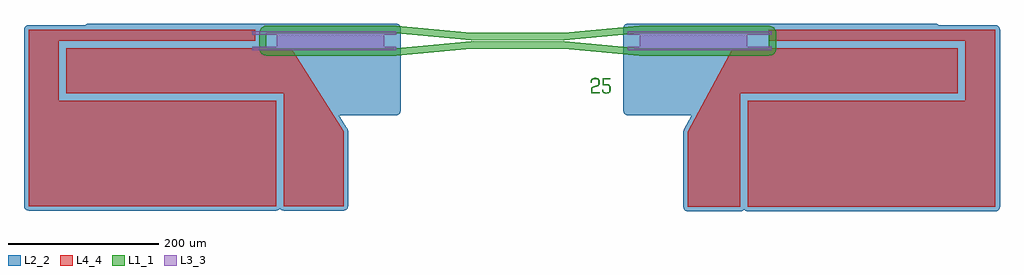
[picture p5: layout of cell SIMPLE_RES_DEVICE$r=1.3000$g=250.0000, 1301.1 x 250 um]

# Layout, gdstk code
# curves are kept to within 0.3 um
import gdstk
lib = gdstk.Library(unit=1e-6, precision=1e-10)
def P(c, l, *ps):  # polygons
    for p in ps: c.add(gdstk.Polygon(p, *l))
L1_1 = (1, 1)
L2_2 = (2, 2)
L3_3 = (3, 3)
L4_4 = (4, 4)

simple_res_device_r_1_30 = lib.new_cell('SIMPLE_RES_DEVICE$r=1.3000$g=250.0000')
P(simple_res_device_r_1_30, L1_1, [(-580.848,-15.25),(-583.7508,-14.8194),(-587.1919,-12.9801),(-589.1627,-10.8057),(-590.6559,-7.2009),(-590.6559,16.7009),(-587.9191,21.8211),(-582.7989,24.5579),(-408.048,24.75),(-307.579,15.35),(-245.9,15.35),(-245.9,5.35),(-308.048,5.35),(-408.048,14.75),(-580.848,14.75),(-580.848,-5.25),(-408.048,-5.25),(-308.048,4.15),(-245.9,4.15),(-245.9,-5.85),(-307.579,-5.85),(-408.048,-15.25)],
  [(-83.752,-15.25),(-184.221,-5.85),(-245.9,-5.85),(-245.9,4.15),(-183.752,4.15),(-83.752,-5.25),(89.048,-5.25),(89.048,14.75),(-83.752,14.75),(-183.752,5.35),(-245.9,5.35),(-245.9,15.35),(-184.221,15.35),(-83.752,24.75),(90.0282,24.7018),(95.3919,22.4801),(98.6174,17.6528),(98.9998,-6.2302),(97.8672,-9.964),(95.3919,-12.9801),(92.8748,-14.4888),(89.048,-15.25)],
  [(-127.654,-65.578),(-130.096,-65.342),(-131.148,-64.996),(-132.152,-64.36),(-132.896,-63.406),(-133.172,-62.396),(-133.188,-60.394),(-131.702,-60.394),(-131.702,-62.012),(-131.282,-63.064),(-130.382,-63.718),(-128.066,-64.218),(-125.694,-63.98),(-124.658,-63.544),(-123.868,-62.792),(-123.606,-61.848),(-123.606,-56.692),(-124.01,-55.71),(-124.966,-55.016),(-125.938,-54.65),(-126.998,-54.468),(-132.8,-54.468),(-132.8,-45.108),(-122.658,-45.108),(-122.658,-46.468),(-131.314,-46.468),(-131.314,-53.146),(-126.904,-53.146),(-124.618,-53.492),(-122.896,-54.656),(-122.278,-55.704),(-122.12,-61.848),(-122.262,-62.914),(-122.792,-63.956),(-123.598,-64.682),(-124.848,-65.228)],
  [(-148.154,-65.22),(-148.154,-59.036),(-147.846,-57.866),(-147.008,-57.006),(-145.862,-56.394),(-140.242,-54.772),(-139.198,-54.242),(-138.408,-53.49),(-138.526,-47.892),(-139.166,-47.01),(-141.316,-46.282),(-144.93,-46.486),(-145.886,-46.91),(-146.636,-47.77),(-146.866,-48.87),(-146.866,-50.986),(-148.4,-50.986),(-148.328,-47.906),(-147.894,-46.732),(-147.112,-45.88),(-144.874,-44.98),(-141.096,-44.84),(-138.748,-45.446),(-137.87,-46.032),(-137.166,-46.948),(-136.788,-48.106),(-136.788,-52.914),(-136.97,-53.994),(-137.594,-54.912),(-138.478,-55.554),(-140.566,-56.402),(-144.274,-57.386),(-145.396,-57.89),(-146.274,-58.61),(-146.534,-59.386),(-146.534,-63.87),(-136.708,-63.87),(-136.708,-65.22)])
P(simple_res_device_r_1_30, L2_2, [(-18.952,-222.5),(-21.2481,-222.0433),(-22.7584,-221.1381),(-24.2435,-219.3284),(-24.9231,-217.0881),(-24.952,-116.5),(-24.2302,-113.6469),(-13.8806,-94.5),(-98.952,-94.5),(-101.7804,-93.7915),(-103.9408,-91.8334),(-104.952,-88.5),(-104.952,21.5),(-104.2435,24.3284),(-101.7804,26.7915),(-98.952,27.5),(311.048,27.5),(313.3441,27.0433),(315.5106,25.5),(391.6361,25.4711),(394.3814,24.4888),(396.3395,22.3284),(397.048,19.5),(397.048,-216.5),(396.3395,-219.3284),(393.8764,-221.7915),(391.048,-222.5),(61.048,-222.5),(58.2196,-221.7915),(56.048,-219.8148),(53.8764,-221.7915),(51.048,-222.5)],
  [(-898.048,-221.5),(-900.3441,-221.0433),(-902.2906,-219.7426),(-903.5913,-217.7961),(-904.048,-215.5),(-904.048,19.5),(-903.3395,22.3284),(-900.8764,24.7915),(-898.048,25.5),(-822.5106,25.5),(-820.3441,27.0433),(-818.048,27.5),(-408.048,27.5),(-405.2196,26.7915),(-402.7565,24.3284),(-402.048,21.5),(-402.048,-88.5),(-403.0592,-91.8334),(-405.2196,-93.7915),(-408.048,-94.5),(-484.2998,-94.5),(-472.986,-112.2787),(-472.0747,-114.9341),(-472.048,-215.5),(-472.7565,-218.3284),(-475.2196,-220.7915),(-478.048,-221.5),(-558.048,-221.5),(-560.8764,-220.7915),(-563.048,-218.8148),(-565.2196,-220.7915),(-568.048,-221.5)])
P(simple_res_device_r_1_30, L3_3, [(-98.952,-8),(-98.952,-3),(-83.197,-3),(-83.197,11.75),(-82.752,11.75),(-82.752,-3),(-82.752,-3),(-81.397,-3),(-81.397,11.75),(-80.952,11.75),(-80.952,-3),(-79.597,-3),(-79.597,11.75),(-79.152,11.75),(-79.152,-3),(-77.797,-3),(-77.797,11.75),(-77.352,11.75),(-77.352,-3),(-75.997,-3),(-75.997,11.75),(-75.552,11.75),(-75.552,-3),(-74.197,-3),(-74.197,11.75),(-73.752,11.75),(-73.752,-3),(-72.397,-3),(-72.397,11.75),(-71.952,11.75),(-71.952,-3),(-70.597,-3),(-70.597,11.75),(-70.152,11.75),(-70.152,-3),(-68.797,-3),(-68.797,11.75),(-68.352,11.75),(-68.352,-3),(-66.997,-3),(-66.997,11.75),(-66.552,11.75),(-66.552,-3),(-65.197,-3),(-65.197,11.75),(-64.752,11.75),(-64.752,-3),(-63.397,-3),(-63.397,11.75),(-62.952,11.75),(-62.952,-3),(-61.597,-3),(-61.597,11.75),(-61.152,11.75),(-61.152,-3),(-59.797,-3),(-59.797,11.75),(-59.352,11.75),(-59.352,-3),(-57.997,-3),(-57.997,11.75),(-57.552,11.75),(-57.552,-3),(-56.197,-3),(-56.197,11.75),(-55.752,11.75),(-55.752,-3),(-54.397,-3),(-54.397,11.75),(-53.952,11.75),(-53.952,-3),(-52.597,-3),(-52.597,11.75),(-52.152,11.75),(-52.152,-3),(-50.797,-3),(-50.797,11.75),(-50.352,11.75),(-50.352,-3),(-48.997,-3),(-48.997,11.75),(-48.552,11.75),(-48.552,-3),(-47.197,-3),(-47.197,11.75),(-46.752,11.75),(-46.752,-3),(-45.397,-3),(-45.397,11.75),(-44.952,11.75),(-44.952,-3),(-43.597,-3),(-43.597,11.75),(-43.152,11.75),(-43.152,-3),(-41.797,-3),(-41.797,11.75),(-41.352,11.75),(-41.352,-3),(-39.997,-3),(-39.997,11.75),(-39.552,11.75),(-39.552,-3),(-38.197,-3),(-38.197,11.75),(-37.752,11.75),(-37.752,-3),(-36.397,-3),(-36.397,11.75),(-35.952,11.75),(-35.952,-3),(-34.597,-3),(-34.597,11.75),(-34.152,11.75),(-34.152,-3),(-32.797,-3),(-32.797,11.75),(-32.352,11.75),(-32.352,-3),(-30.997,-3),(-30.997,11.75),(-30.552,11.75),(-30.552,-3),(-29.197,-3),(-29.197,11.75),(-28.752,11.75),(-28.752,-3),(-27.397,-3),(-27.397,11.75),(-26.952,11.75),(-26.952,-3),(-25.597,-3),(-25.597,11.75),(-25.152,11.75),(-25.152,-3),(-23.797,-3),(-23.797,11.75),(-23.352,11.75),(-23.352,-3),(-21.997,-3),(-21.997,11.75),(-21.552,11.75),(-21.552,-3),(-20.197,-3),(-20.197,11.75),(-19.752,11.75),(-19.752,-3),(-18.397,-3),(-18.397,11.75),(-17.952,11.75),(-17.952,-3),(-16.597,-3),(-16.597,11.75),(-16.152,11.75),(-16.152,-3),(-14.797,-3),(-14.797,11.75),(-14.352,11.75),(-14.352,-3),(-12.997,-3),(-12.997,11.75),(-12.552,11.75),(-12.552,-3),(-11.197,-3),(-11.197,11.75),(-10.752,11.75),(-10.752,-3),(-9.397,-3),(-9.397,11.75),(-8.952,11.75),(-8.952,-3),(-7.597,-3),(-7.597,11.75),(-7.152,11.75),(-7.152,-3),(-5.797,-3),(-5.797,11.75),(-5.352,11.75),(-5.352,-3),(-3.997,-3),(-3.997,11.75),(-3.552,11.75),(-3.552,-3),(-2.197,-3),(-2.197,11.75),(-1.752,11.75),(-1.752,-3),(-0.397,-3),(-0.397,11.75),(0.048,11.75),(0.048,-3),(1.403,-3),(1.403,11.75),(1.848,11.75),(1.848,-3),(3.203,-3),(3.203,11.75),(3.648,11.75),(3.648,-3),(5.003,-3),(5.003,11.75),(5.448,11.75),(5.448,-3),(6.803,-3),(6.803,11.75),(7.248,11.75),(7.248,-3),(8.603,-3),(8.603,11.75),(9.048,11.75),(9.048,-3),(10.403,-3),(10.403,11.75),(10.848,11.75),(10.848,-3),(12.203,-3),(12.203,11.75),(12.648,11.75),(12.648,-3),(14.003,-3),(14.003,11.75),(14.448,11.75),(14.448,-3),(15.803,-3),(15.803,11.75),(16.248,11.75),(16.248,-3),(17.603,-3),(17.603,11.75),(18.048,11.75),(18.048,-3),(19.403,-3),(19.403,11.75),(19.848,11.75),(19.848,-3),(21.203,-3),(21.203,11.75),(21.648,11.75),(21.648,-3),(23.003,-3),(23.003,11.75),(23.448,11.75),(23.448,-3),(24.803,-3),(24.803,11.75),(25.248,11.75),(25.248,-3),(26.603,-3),(26.603,11.75),(27.048,11.75),(27.048,-3),(28.403,-3),(28.403,11.75),(28.848,11.75),(28.848,-3),(30.203,-3),(30.203,11.75),(30.648,11.75),(30.648,-3),(32.003,-3),(32.003,11.75),(32.448,11.75),(32.448,-3),(33.803,-3),(33.803,11.75),(34.248,11.75),(34.248,-3),(35.603,-3),(35.603,11.75),(36.048,11.75),(36.048,-3),(37.403,-3),(37.403,11.75),(37.848,11.75),(37.848,-3),(39.203,-3),(39.203,11.75),(39.648,11.75),(39.648,-3),(41.003,-3),(41.003,11.75),(41.448,11.75),(41.448,-3),(42.803,-3),(42.803,11.75),(43.248,11.75),(43.248,-3),(44.603,-3),(44.603,11.75),(45.048,11.75),(45.048,-3),(46.403,-3),(46.403,11.75),(46.848,11.75),(46.848,-3),(48.203,-3),(48.203,11.75),(48.648,11.75),(48.648,-3),(50.003,-3),(50.003,11.75),(50.448,11.75),(50.448,-3),(51.803,-3),(51.803,11.75),(52.248,11.75),(52.248,-3),(53.603,-3),(53.603,11.75),(54.048,11.75),(54.048,-3),(55.403,-3),(55.403,11.75),(55.848,11.75),(55.848,-3),(57.203,-3),(57.203,11.75),(57.648,11.75),(57.648,-3),(59.003,-3),(59.003,11.75),(59.448,11.75),(59.448,-3),(93.048,-3),(93.048,-8)],
  [(-82.297,-2.25),(-82.297,12.5),(-98.952,12.5),(-98.952,17.5),(93.048,17.5),(93.048,12.5),(60.348,12.5),(60.348,-2.25),(59.903,-2.25),(59.903,12.5),(58.548,12.5),(58.548,-2.25),(58.103,-2.25),(58.103,12.5),(56.748,12.5),(56.748,-2.25),(56.303,-2.25),(56.303,12.5),(54.948,12.5),(54.948,-2.25),(54.503,-2.25),(54.503,12.5),(53.148,12.5),(53.148,-2.25),(52.703,-2.25),(52.703,12.5),(51.348,12.5),(51.348,-2.25),(50.903,-2.25),(50.903,12.5),(49.548,12.5),(49.548,-2.25),(49.103,-2.25),(49.103,12.5),(47.748,12.5),(47.748,-2.25),(47.303,-2.25),(47.303,12.5),(45.948,12.5),(45.948,-2.25),(45.503,-2.25),(45.503,12.5),(44.148,12.5),(44.148,-2.25),(43.703,-2.25),(43.703,12.5),(42.348,12.5),(42.348,-2.25),(41.903,-2.25),(41.903,12.5),(40.548,12.5),(40.548,-2.25),(40.103,-2.25),(40.103,12.5),(38.748,12.5),(38.748,-2.25),(38.303,-2.25),(38.303,12.5),(36.948,12.5),(36.948,-2.25),(36.503,-2.25),(36.503,12.5),(35.148,12.5),(35.148,-2.25),(34.703,-2.25),(34.703,12.5),(33.348,12.5),(33.348,-2.25),(32.903,-2.25),(32.903,12.5),(31.548,12.5),(31.548,-2.25),(31.103,-2.25),(31.103,12.5),(29.748,12.5),(29.748,-2.25),(29.303,-2.25),(29.303,12.5),(27.948,12.5),(27.948,-2.25),(27.503,-2.25),(27.503,12.5),(26.148,12.5),(26.148,-2.25),(25.703,-2.25),(25.703,12.5),(24.348,12.5),(24.348,-2.25),(23.903,-2.25),(23.903,12.5),(22.548,12.5),(22.548,-2.25),(22.103,-2.25),(22.103,12.5),(20.748,12.5),(20.748,-2.25),(20.303,-2.25),(20.303,12.5),(18.948,12.5),(18.948,-2.25),(18.503,-2.25),(18.503,12.5),(17.148,12.5),(17.148,-2.25),(16.703,-2.25),(16.703,12.5),(15.348,12.5),(15.348,-2.25),(14.903,-2.25),(14.903,12.5),(13.548,12.5),(13.548,-2.25),(13.103,-2.25),(13.103,12.5),(11.748,12.5),(11.748,-2.25),(11.303,-2.25),(11.303,12.5),(9.948,12.5),(9.948,-2.25),(9.503,-2.25),(9.503,12.5),(8.148,12.5),(8.148,-2.25),(7.703,-2.25),(7.703,12.5),(6.348,12.5),(6.348,-2.25),(5.903,-2.25),(5.903,12.5),(4.548,12.5),(4.548,-2.25),(4.103,-2.25),(4.103,12.5),(2.748,12.5),(2.748,-2.25),(2.303,-2.25),(2.303,12.5),(0.948,12.5),(0.948,-2.25),(0.503,-2.25),(0.503,12.5),(-0.852,12.5),(-0.852,-2.25),(-1.297,-2.25),(-1.297,12.5),(-2.652,12.5),(-2.652,-2.25),(-3.097,-2.25),(-3.097,12.5),(-4.452,12.5),(-4.452,-2.25),(-4.897,-2.25),(-4.897,12.5),(-6.252,12.5),(-6.252,-2.25),(-6.697,-2.25),(-6.697,12.5),(-8.052,12.5),(-8.052,-2.25),(-8.497,-2.25),(-8.497,12.5),(-9.852,12.5),(-9.852,-2.25),(-10.297,-2.25),(-10.297,12.5),(-11.652,12.5),(-11.652,-2.25),(-12.097,-2.25),(-12.097,12.5),(-13.452,12.5),(-13.452,-2.25),(-13.897,-2.25),(-13.897,12.5),(-15.252,12.5),(-15.252,-2.25),(-15.697,-2.25),(-15.697,12.5),(-17.052,12.5),(-17.052,-2.25),(-17.497,-2.25),(-17.497,12.5),(-18.852,12.5),(-18.852,-2.25),(-19.297,-2.25),(-19.297,12.5),(-20.652,12.5),(-20.652,-2.25),(-21.097,-2.25),(-21.097,12.5),(-22.452,12.5),(-22.452,-2.25),(-22.897,-2.25),(-22.897,12.5),(-24.252,12.5),(-24.252,-2.25),(-24.697,-2.25),(-24.697,12.5),(-26.052,12.5),(-26.052,-2.25),(-26.497,-2.25),(-26.497,12.5),(-27.852,12.5),(-27.852,-2.25),(-28.297,-2.25),(-28.297,12.5),(-29.652,12.5),(-29.652,-2.25),(-30.097,-2.25),(-30.097,12.5),(-31.452,12.5),(-31.452,-2.25),(-31.897,-2.25),(-31.897,12.5),(-33.252,12.5),(-33.252,-2.25),(-33.697,-2.25),(-33.697,12.5),(-35.052,12.5),(-35.052,-2.25),(-35.497,-2.25),(-35.497,12.5),(-36.852,12.5),(-36.852,-2.25),(-37.297,-2.25),(-37.297,12.5),(-38.652,12.5),(-38.652,-2.25),(-39.097,-2.25),(-39.097,12.5),(-40.452,12.5),(-40.452,-2.25),(-40.897,-2.25),(-40.897,12.5),(-42.252,12.5),(-42.252,-2.25),(-42.697,-2.25),(-42.697,12.5),(-44.052,12.5),(-44.052,-2.25),(-44.497,-2.25),(-44.497,12.5),(-45.852,12.5),(-45.852,-2.25),(-46.297,-2.25),(-46.297,12.5),(-47.652,12.5),(-47.652,-2.25),(-48.097,-2.25),(-48.097,12.5),(-49.452,12.5),(-49.452,-2.25),(-49.897,-2.25),(-49.897,12.5),(-51.252,12.5),(-51.252,-2.25),(-51.697,-2.25),(-51.697,12.5),(-53.052,12.5),(-53.052,-2.25),(-53.497,-2.25),(-53.497,12.5),(-54.852,12.5),(-54.852,-2.25),(-55.297,-2.25),(-55.297,12.5),(-56.652,12.5),(-56.652,-2.25),(-57.097,-2.25),(-57.097,12.5),(-58.452,12.5),(-58.452,-2.25),(-58.897,-2.25),(-58.897,12.5),(-60.252,12.5),(-60.252,-2.25),(-60.697,-2.25),(-60.697,12.5),(-62.052,12.5),(-62.052,-2.25),(-62.497,-2.25),(-62.497,12.5),(-63.852,12.5),(-63.852,-2.25),(-64.297,-2.25),(-64.297,12.5),(-65.652,12.5),(-65.652,-2.25),(-66.097,-2.25),(-66.097,12.5),(-67.452,12.5),(-67.452,-2.25),(-67.897,-2.25),(-67.897,-2.25),(-67.897,12.5),(-69.252,12.5),(-69.252,-2.25),(-69.697,-2.25),(-69.697,12.5),(-71.052,12.5),(-71.052,-2.25),(-71.497,-2.25),(-71.497,12.5),(-72.852,12.5),(-72.852,-2.25),(-73.297,-2.25),(-73.297,12.5),(-74.652,12.5),(-74.652,-2.25),(-75.097,-2.25),(-75.097,12.5),(-76.452,12.5),(-76.452,-2.25),(-76.897,-2.25),(-76.897,12.5),(-78.252,12.5),(-78.252,-2.25),(-78.697,-2.25),(-78.697,12.5),(-80.052,12.5),(-80.052,-2.25),(-80.497,-2.25),(-80.497,12.5),(-81.852,12.5),(-81.852,-2.25)],
  [(-600.048,-8),(-600.048,-3),(-566.448,-3),(-566.448,11.75),(-566.003,11.75),(-566.003,-3),(-564.648,-3),(-564.648,11.75),(-564.203,11.75),(-564.203,-3),(-562.848,-3),(-562.848,11.75),(-562.403,11.75),(-562.403,-3),(-561.048,-3),(-561.048,11.75),(-560.603,11.75),(-560.603,-3),(-559.248,-3),(-559.248,11.75),(-558.803,11.75),(-558.803,-3),(-557.448,-3),(-557.448,11.75),(-557.003,11.75),(-557.003,-3),(-555.648,-3),(-555.648,11.75),(-555.203,11.75),(-555.203,-3),(-553.848,-3),(-553.848,11.75),(-553.403,11.75),(-553.403,-3),(-552.048,-3),(-552.048,11.75),(-551.603,11.75),(-551.603,-3),(-550.248,-3),(-550.248,11.75),(-549.803,11.75),(-549.803,-3),(-548.448,-3),(-548.448,11.75),(-548.003,11.75),(-548.003,-3),(-546.648,-3),(-546.648,11.75),(-546.203,11.75),(-546.203,-3),(-544.848,-3),(-544.848,11.75),(-544.403,11.75),(-544.403,11.75),(-544.403,-3),(-543.048,-3),(-543.048,11.75),(-542.603,11.75),(-542.603,-3),(-541.248,-3),(-541.248,11.75),(-540.803,11.75),(-540.803,-3),(-539.448,-3),(-539.448,11.75),(-539.003,11.75),(-539.003,-3),(-537.648,-3),(-537.648,11.75),(-537.203,11.75),(-537.203,-3),(-535.848,-3),(-535.848,11.75),(-535.403,11.75),(-535.403,-3),(-534.048,-3),(-534.048,11.75),(-533.603,11.75),(-533.603,-3),(-532.248,-3),(-532.248,11.75),(-531.803,11.75),(-531.803,-3),(-530.448,-3),(-530.448,11.75),(-530.003,11.75),(-530.003,-3),(-528.648,-3),(-528.648,11.75),(-528.203,11.75),(-528.203,-3),(-526.848,-3),(-526.848,11.75),(-526.403,11.75),(-526.403,-3),(-525.048,-3),(-525.048,11.75),(-524.603,11.75),(-524.603,-3),(-523.248,-3),(-523.248,11.75),(-522.803,11.75),(-522.803,-3),(-521.448,-3),(-521.448,11.75),(-521.003,11.75),(-521.003,-3),(-519.648,-3),(-519.648,11.75),(-519.203,11.75),(-519.203,-3),(-517.848,-3),(-517.848,11.75),(-517.403,11.75),(-517.403,-3),(-516.048,-3),(-516.048,11.75),(-515.603,11.75),(-515.603,-3),(-514.248,-3),(-514.248,11.75),(-513.803,11.75),(-513.803,-3),(-512.448,-3),(-512.448,11.75),(-512.003,11.75),(-512.003,-3),(-510.648,-3),(-510.648,11.75),(-510.203,11.75),(-510.203,-3),(-508.848,-3),(-508.848,11.75),(-508.403,11.75),(-508.403,-3),(-507.048,-3),(-507.048,11.75),(-506.603,11.75),(-506.603,-3),(-505.248,-3),(-505.248,11.75),(-504.803,11.75),(-504.803,-3),(-503.448,-3),(-503.448,11.75),(-503.003,11.75),(-503.003,-3),(-501.648,-3),(-501.648,11.75),(-501.203,11.75),(-501.203,-3),(-499.848,-3),(-499.848,11.75),(-499.403,11.75),(-499.403,-3),(-498.048,-3),(-498.048,11.75),(-497.603,11.75),(-497.603,-3),(-496.248,-3),(-496.248,11.75),(-495.803,11.75),(-495.803,-3),(-494.448,-3),(-494.448,11.75),(-494.003,11.75),(-494.003,-3),(-492.648,-3),(-492.648,11.75),(-492.203,11.75),(-492.203,-3),(-490.848,-3),(-490.848,11.75),(-490.403,11.75),(-490.403,-3),(-489.048,-3),(-489.048,11.75),(-488.603,11.75),(-488.603,-3),(-487.248,-3),(-487.248,11.75),(-486.803,11.75),(-486.803,-3),(-485.448,-3),(-485.448,11.75),(-485.003,11.75),(-485.003,-3),(-483.648,-3),(-483.648,11.75),(-483.203,11.75),(-483.203,-3),(-481.848,-3),(-481.848,11.75),(-481.403,11.75),(-481.403,-3),(-480.048,-3),(-480.048,11.75),(-479.603,11.75),(-479.603,-3),(-478.248,-3),(-478.248,11.75),(-477.803,11.75),(-477.803,-3),(-476.448,-3),(-476.448,11.75),(-476.003,11.75),(-476.003,-3),(-474.648,-3),(-474.648,11.75),(-474.203,11.75),(-474.203,-3),(-472.848,-3),(-472.848,11.75),(-472.403,11.75),(-472.403,-3),(-471.048,-3),(-471.048,11.75),(-470.603,11.75),(-470.603,-3),(-469.248,-3),(-469.248,11.75),(-468.803,11.75),(-468.803,-3),(-467.448,-3),(-467.448,11.75),(-467.003,11.75),(-467.003,-3),(-465.648,-3),(-465.648,11.75),(-465.203,11.75),(-465.203,-3),(-463.848,-3),(-463.848,11.75),(-463.403,11.75),(-463.403,-3),(-462.048,-3),(-462.048,11.75),(-461.603,11.75),(-461.603,-3),(-460.248,-3),(-460.248,11.75),(-459.803,11.75),(-459.803,-3),(-458.448,-3),(-458.448,11.75),(-458.003,11.75),(-458.003,-3),(-456.648,-3),(-456.648,11.75),(-456.203,11.75),(-456.203,-3),(-454.848,-3),(-454.848,11.75),(-454.403,11.75),(-454.403,-3),(-453.048,-3),(-453.048,11.75),(-452.603,11.75),(-452.603,-3),(-451.248,-3),(-451.248,11.75),(-450.803,11.75),(-450.803,-3),(-449.448,-3),(-449.448,11.75),(-449.003,11.75),(-449.003,-3),(-447.648,-3),(-447.648,11.75),(-447.203,11.75),(-447.203,-3),(-445.848,-3),(-445.848,11.75),(-445.403,11.75),(-445.403,-3),(-444.048,-3),(-444.048,11.75),(-443.603,11.75),(-443.603,-3),(-442.248,-3),(-442.248,11.75),(-441.803,11.75),(-441.803,-3),(-440.448,-3),(-440.448,11.75),(-440.003,11.75),(-440.003,-3),(-438.648,-3),(-438.648,11.75),(-438.203,11.75),(-438.203,-3),(-436.848,-3),(-436.848,11.75),(-436.403,11.75),(-436.403,-3),(-435.048,-3),(-435.048,11.75),(-434.603,11.75),(-434.603,-3),(-433.248,-3),(-433.248,11.75),(-432.803,11.75),(-432.803,-3),(-431.448,-3),(-431.448,11.75),(-431.003,11.75),(-431.003,-3),(-429.648,-3),(-429.648,11.75),(-429.203,11.75),(-429.203,-3),(-427.848,-3),(-427.848,11.75),(-427.403,11.75),(-427.403,-3),(-426.048,-3),(-426.048,11.75),(-425.603,11.75),(-425.603,-3),(-424.248,-3),(-424.248,11.75),(-423.803,11.75),(-423.803,-3),(-408.048,-3),(-408.048,-8)],
  [(-567.348,-2.25),(-567.348,12.5),(-600.048,12.5),(-600.048,17.5),(-408.048,17.5),(-408.048,12.5),(-424.703,12.5),(-424.703,-2.25),(-425.148,-2.25),(-425.148,12.5),(-426.503,12.5),(-426.503,-2.25),(-426.948,-2.25),(-426.948,12.5),(-428.303,12.5),(-428.303,-2.25),(-428.748,-2.25),(-428.748,12.5),(-430.103,12.5),(-430.103,-2.25),(-430.548,-2.25),(-430.548,12.5),(-431.903,12.5),(-431.903,-2.25),(-432.348,-2.25),(-432.348,12.5),(-433.703,12.5),(-433.703,-2.25),(-434.148,-2.25),(-434.148,12.5),(-435.503,12.5),(-435.503,-2.25),(-435.948,-2.25),(-435.948,12.5),(-437.303,12.5),(-437.303,-2.25),(-437.748,-2.25),(-437.748,12.5),(-439.103,12.5),(-439.103,-2.25),(-439.548,-2.25),(-439.548,12.5),(-440.903,12.5),(-440.903,-2.25),(-441.348,-2.25),(-441.348,12.5),(-442.703,12.5),(-442.703,-2.25),(-443.148,-2.25),(-443.148,12.5),(-444.503,12.5),(-444.503,-2.25),(-444.948,-2.25),(-444.948,12.5),(-446.303,12.5),(-446.303,-2.25),(-446.748,-2.25),(-446.748,12.5),(-448.103,12.5),(-448.103,-2.25),(-448.548,-2.25),(-448.548,12.5),(-449.903,12.5),(-449.903,-2.25),(-450.348,-2.25),(-450.348,12.5),(-451.703,12.5),(-451.703,-2.25),(-452.148,-2.25),(-452.148,12.5),(-453.503,12.5),(-453.503,-2.25),(-453.948,-2.25),(-453.948,12.5),(-455.303,12.5),(-455.303,-2.25),(-455.748,-2.25),(-455.748,12.5),(-457.103,12.5),(-457.103,-2.25),(-457.548,-2.25),(-457.548,12.5),(-458.903,12.5),(-458.903,-2.25),(-459.348,-2.25),(-459.348,12.5),(-460.703,12.5),(-460.703,-2.25),(-461.148,-2.25),(-461.148,12.5),(-462.503,12.5),(-462.503,-2.25),(-462.948,-2.25),(-462.948,12.5),(-464.303,12.5),(-464.303,-2.25),(-464.748,-2.25),(-464.748,12.5),(-466.103,12.5),(-466.103,-2.25),(-466.548,-2.25),(-466.548,12.5),(-467.903,12.5),(-467.903,-2.25),(-468.348,-2.25),(-468.348,12.5),(-469.703,12.5),(-469.703,-2.25),(-470.148,-2.25),(-470.148,12.5),(-471.503,12.5),(-471.503,-2.25),(-471.948,-2.25),(-471.948,12.5),(-473.303,12.5),(-473.303,-2.25),(-473.748,-2.25),(-473.748,12.5),(-475.103,12.5),(-475.103,-2.25),(-475.548,-2.25),(-475.548,12.5),(-476.903,12.5),(-476.903,-2.25),(-477.348,-2.25),(-477.348,12.5),(-478.703,12.5),(-478.703,-2.25),(-479.148,-2.25),(-479.148,12.5),(-480.503,12.5),(-480.503,-2.25),(-480.948,-2.25),(-480.948,12.5),(-482.303,12.5),(-482.303,-2.25),(-482.748,-2.25),(-482.748,12.5),(-484.103,12.5),(-484.103,-2.25),(-484.548,-2.25),(-484.548,12.5),(-485.903,12.5),(-485.903,-2.25),(-486.348,-2.25),(-486.348,12.5),(-487.703,12.5),(-487.703,-2.25),(-488.148,-2.25),(-488.148,12.5),(-489.503,12.5),(-489.503,-2.25),(-489.948,-2.25),(-489.948,12.5),(-491.303,12.5),(-491.303,-2.25),(-491.748,-2.25),(-491.748,12.5),(-493.103,12.5),(-493.103,-2.25),(-493.548,-2.25),(-493.548,12.5),(-494.903,12.5),(-494.903,-2.25),(-495.348,-2.25),(-495.348,12.5),(-496.703,12.5),(-496.703,-2.25),(-497.148,-2.25),(-497.148,12.5),(-498.503,12.5),(-498.503,-2.25),(-498.948,-2.25),(-498.948,12.5),(-500.303,12.5),(-500.303,-2.25),(-500.748,-2.25),(-500.748,12.5),(-502.103,12.5),(-502.103,-2.25),(-502.548,-2.25),(-502.548,12.5),(-503.903,12.5),(-503.903,-2.25),(-504.348,-2.25),(-504.348,12.5),(-505.703,12.5),(-505.703,-2.25),(-506.148,-2.25),(-506.148,12.5),(-507.503,12.5),(-507.503,-2.25),(-507.948,-2.25),(-507.948,12.5),(-509.303,12.5),(-509.303,-2.25),(-509.748,-2.25),(-509.748,12.5),(-511.103,12.5),(-511.103,-2.25),(-511.548,-2.25),(-511.548,12.5),(-512.903,12.5),(-512.903,-2.25),(-513.348,-2.25),(-513.348,12.5),(-514.703,12.5),(-514.703,-2.25),(-515.148,-2.25),(-515.148,12.5),(-516.503,12.5),(-516.503,-2.25),(-516.948,-2.25),(-516.948,12.5),(-518.303,12.5),(-518.303,-2.25),(-518.748,-2.25),(-518.748,12.5),(-520.103,12.5),(-520.103,-2.25),(-520.548,-2.25),(-520.548,12.5),(-521.903,12.5),(-521.903,-2.25),(-522.348,-2.25),(-522.348,12.5),(-523.703,12.5),(-523.703,-2.25),(-524.148,-2.25),(-524.148,12.5),(-525.503,12.5),(-525.503,-2.25),(-525.948,-2.25),(-525.948,12.5),(-527.303,12.5),(-527.303,-2.25),(-527.748,-2.25),(-527.748,12.5),(-529.103,12.5),(-529.103,-2.25),(-529.548,-2.25),(-529.548,12.5),(-530.903,12.5),(-530.903,-2.25),(-531.348,-2.25),(-531.348,12.5),(-532.703,12.5),(-532.703,-2.25),(-533.148,-2.25),(-533.148,12.5),(-534.503,12.5),(-534.503,-2.25),(-534.948,-2.25),(-534.948,12.5),(-536.303,12.5),(-536.303,-2.25),(-536.748,-2.25),(-536.748,12.5),(-538.103,12.5),(-538.103,-2.25),(-538.548,-2.25),(-538.548,12.5),(-538.548,12.5),(-539.903,12.5),(-539.903,-2.25),(-540.348,-2.25),(-540.348,12.5),(-541.703,12.5),(-541.703,-2.25),(-542.148,-2.25),(-542.148,12.5),(-543.503,12.5),(-543.503,-2.25),(-543.948,-2.25),(-543.948,12.5),(-545.303,12.5),(-545.303,-2.25),(-545.748,-2.25),(-545.748,12.5),(-547.103,12.5),(-547.103,-2.25),(-547.548,-2.25),(-547.548,12.5),(-548.903,12.5),(-548.903,-2.25),(-549.348,-2.25),(-549.348,12.5),(-550.703,12.5),(-550.703,-2.25),(-551.148,-2.25),(-551.148,12.5),(-552.503,12.5),(-552.503,-2.25),(-552.948,-2.25),(-552.948,12.5),(-554.303,12.5),(-554.303,-2.25),(-554.748,-2.25),(-554.748,12.5),(-556.103,12.5),(-556.103,-2.25),(-556.548,-2.25),(-556.548,12.5),(-557.903,12.5),(-557.903,-2.25),(-558.348,-2.25),(-558.348,12.5),(-559.703,12.5),(-559.703,-2.25),(-560.148,-2.25),(-560.148,12.5),(-561.503,12.5),(-561.503,-2.25),(-561.948,-2.25),(-561.948,12.5),(-563.303,12.5),(-563.303,-2.25),(-563.748,-2.25),(-563.748,12.5),(-565.103,12.5),(-565.103,-2.25),(-565.548,-2.25),(-565.548,12.5),(-566.903,12.5),(-566.903,-2.25)])
P(simple_res_device_r_1_30, L4_4, [(-18.952,-216.5),(-18.952,-116.5),(41.048,-5.5),(341.048,-5.5),(341.048,-5.5),(341.048,-65.5),(51.048,-65.5),(51.048,-216.5)],
  [(61.048,-216.5),(61.048,-75.5),(351.048,-75.5),(351.048,4.5),(89.048,4.5),(89.048,19.5),(391.048,19.5),(391.048,19.5),(391.048,-216.5)],
  [(-558.048,-215.5),(-558.048,-65.5),(-848.048,-65.5),(-848.048,-5.5),(-548.048,-5.5),(-478.048,-115.5),(-478.048,-115.5),(-478.048,-215.5)],
  [(-898.048,-215.5),(-898.048,19.5),(-596.048,19.5),(-596.048,4.5),(-596.048,4.5),(-858.048,4.5),(-858.048,-75.5),(-568.048,-75.5),(-568.048,-215.5)])

lib.write_gds('SIMPLE_RES_DEVICE_r_1.3000_g_250.0000.gds')
